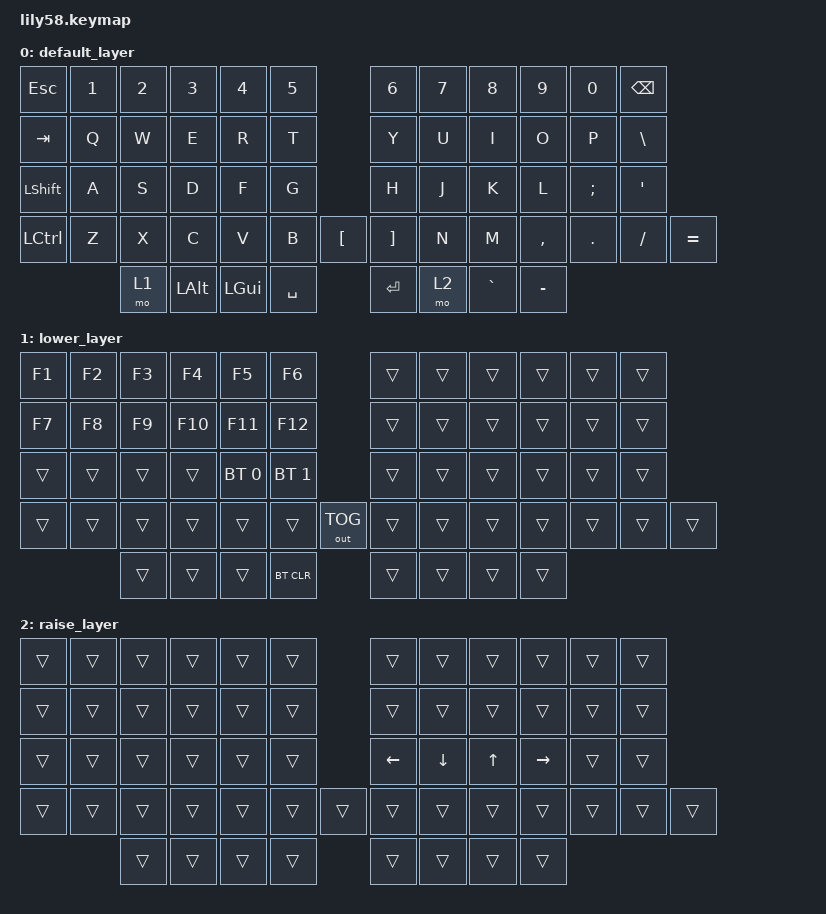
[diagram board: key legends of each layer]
#include <behaviors.dtsi>
#include <dt-bindings/zmk/keys.h>
#include <dt-bindings/zmk/bt.h>
#include <dt-bindings/zmk/outputs.h>

/ {
	keymap {
		compatible = "zmk,keymap";

		default_layer {
// ------------------------------------------------------------------------------------------------------------
// |  ESC  |  1  |  2  |  3   |  4   |  5   |                   |  6   |  7    |  8    |  9   |   0   |   `   |
// |  TAB  |  Q  |  W  |  E   |  R   |  T   |                   |  Y   |  U    |  I    |  O   |   P   |   =   |
// |  CTRL |  A  |  S  |  D   |  F   |  G   |                   |  H   |  J    |  K    |  L   |   ;   |   '   |
// | SHIFT |  Z  |  X  |  C   |  V   |  B   |   "["  |  |  "]"  |  N   |  M    |  ,    |  .   |   /   |   -   |
//                     | ALT  | K_CMENU | LOWER|  SPACE |  | ENTER | RAISE| BSPC  | "|"   |
			bindings = <
&kp ESC  &kp N1    &kp N2    &kp N3    &kp N4    &kp N5                       &kp N6    &kp N7    &kp N8    &kp N9    &kp N0    &kp BSPC
&kp TAB  &kp Q     &kp W     &kp E     &kp R     &kp T                        &kp Y     &kp U     &kp I     &kp O     &kp P     &kp BSLH
&kp LSHFT &kp A     &kp S     &kp D     &kp F     &kp G                        &kp H     &kp J     &kp K     &kp L     &kp SEMI  &kp SQT 
&kp LCTRL &kp Z     &kp X     &kp C     &kp V     &kp B   &kp LBKT  &kp RBKT   &kp N     &kp M     &kp COMMA &kp DOT   &kp FSLH  &kp EQUAL
                   &mo 1     &kp LALT   &kp LGUI   &kp SPACE                     &kp RET   &mo 2     &kp GRAVE &kp MINUS
			>;
		};

		lower_layer {
// ------------------------------------------------------------------------------------------------------------
// |       |     |     |      |      |      |                   |      |       |       |      |       |       |
// |  F1   |  F2 |  F3 |  F4  |  F5  |  F6  |                   |  F7  |  F8   |  F9   |  F10 |  F11  |  F12  |
// |   `   |  !  |  @  |  #   |  $   |  %   |                   |  ^   |  &    |  *    |  (   |   )   |   ~   |
// |       |     |     |      |      |      |        |  |       |      |  _    |  +    |  {   |   }   |  "|"  |
//                     |      |      |      |        |  |       |      |       |       |
			bindings = <
&kp F1   &kp F2    &kp F3    &kp F4    &kp F5    &kp F6                       &trans    &trans    &trans    &trans    &trans    &trans
&kp F7   &kp F8    &kp F9    &kp F10   &kp F11   &kp F12                      &trans    &trans    &trans    &trans    &trans    &trans
&trans   &trans    &trans    &trans    &bt BT_SEL 0    &bt BT_SEL 1           &trans    &trans    &trans    &trans    &trans    &trans
&trans   &trans    &trans    &trans    &trans    &trans    &out OUT_TOG   &trans    &trans    &trans    &trans    &trans    &trans    &trans
                   &trans    &trans    &trans    &bt BT_CLR                   &trans    &trans    &trans    &trans
			>;
		};

		raise_layer {
// ------------------------------------------------------------------------------------------------------------
// |       |     |     |      |      |      |                   |      |       |       |      |       |       |
// |   `   |  1  |  2  |  3   |  4   |  5   |                   |  6   |   7   |   8   |  9   |   0   |       |
// |       |     |     |      |      |      |                   |  <-  |   ^   |  v    |  ->  |       |       |
// |       |     |     |      |      |      |                   |      |       |       |      |       |       |
//                     |      |      |      |        |  |       |      |       |       |
			bindings = <
&trans   &trans    &trans    &trans    &trans    &trans                       &trans    &trans    &trans    &trans    &trans    &trans
&trans   &trans    &trans    &trans    &trans    &trans                       &trans    &trans    &trans    &trans    &trans    &trans
&trans   &trans    &trans    &trans    &trans    &trans                       &kp LEFT  &kp DOWN  &kp UP    &kp RIGHT &trans    &trans
&trans   &trans    &trans    &trans    &trans    &trans    &trans   &trans    &trans    &trans    &trans    &trans    &trans    &trans
                   &trans    &trans    &trans    &trans                       &trans    &trans    &trans    &trans
			>;
		};
	};
};
